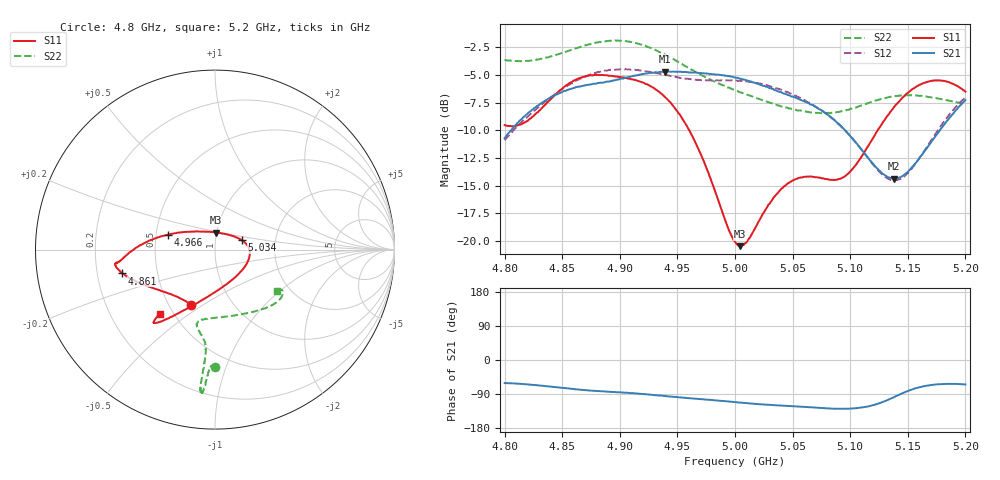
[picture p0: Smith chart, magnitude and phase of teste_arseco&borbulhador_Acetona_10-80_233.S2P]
! Network Analyzer HP8722D
! Hewlett-Packard
! Data name: Linha & Wilkinson
! Saver's name: Rodrigo Anjos
! Comments: Teste da utilização de aquisição
! continua pelo VNA HP8722D
! Time and date: 17/4/2025 16:18
!  Frequency  S11  S21  S12  S22
# HZ  S  MA R 50
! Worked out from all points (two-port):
!   401 points, 4.8 GHz to 5.2 GHz, reference 50 ohm
!   highest |S21| = -4.69 dB at 4.939 GHz (marker M1); lowest = -14.4 dB at 5.138 GHz (marker M2)
!   |S21| within 3 dB of the highest: 4.83 GHz to 5.067 GHz (236.5 MHz wide, 4.78 % of centre); 5.19601 GHz to end of sweep
!   lowest |S11| = -20.5 dB at 5.004 GHz (marker M3), VSWR 1.21, Z = 49.8 + j9.51 ohm
!   |S11| at or under -10 dB: 4.96 GHz to 5.124 GHz (163.7 MHz wide, 3.25 % of centre)
!   |S22| runs from -8.5 to -1.9 dB; largest |S21 - S12| = 0.88
!   S11 on the Smith chart (normalised r, x): 4.8 GHz: 0.64, -0.44; 4.861 GHz: 0.31, -0.11; 4.966 GHz: 0.58, +0.10; 5.034 GHz: 1.34, +0.15; 5.2 GHz: 0.42, -0.39
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4.8e9  0.334 -113.6  0.2915 -60.9  0.2857 -175.1  0.6559 -90.1
4.819e9  0.347 -133.6  0.3729 -64.2  0.3603 -173.8  0.6509 -91.7
4.861e9  0.5334 -165.6  0.4926 -77.2  0.5264 -176.9  0.7382 -94.0
4.867e9  0.5482 -168.1  0.5013 -78.9  0.5449 -178.0  0.7564 -94.2
4.9e9  0.5507 -172.4  0.539 -85.4  0.5963 175.4  0.8021 -95.5
4.934e9  0.4722 -178.4  0.5794 -93.9  0.5716 171.7  0.7144 -95.9
4.939e9  0.4487 179.5  0.5826 -95.0  0.5642 171.6  0.696 -95.7
4.953e9  0.3657 171.9  0.5816 -98.7  0.5438 172.4  0.6345 -95.3
4.966e9  0.2761 162.5  0.5758 -102.2  0.5344 173.6  0.5781 -95.1
5e9  0.0997 99.9  0.548 -111.1  0.5299 176.1  0.4797 -99.2
5.004e9  0.09493 86.0  0.5421 -112.3  0.5293 176.0  0.4709 -100.2
5.012e9  0.1024 59.1  0.5276 -114.4  0.5238 175.8  0.455 -101.8
5.034e9  0.1584 19.5  0.4805 -119.3  0.4955 174.7  0.4156 -103.4
5.05e9  0.1876 3.3  0.4495 -122.1  0.4594 174.0  0.3945 -99.4
5.067e9  0.1951 -14.9  0.4115 -124.9  0.4148 173.6  0.3799 -90.4
5.086e9  0.189 -45.1  0.3539 -128.7  0.3522 173.5  0.3806 -76.1
5.097e9  0.199 -67.5  0.3101 -128.7  0.3103 174.7  0.3906 -67.0
5.134e9  0.3772 -116.9  0.1937 -103.4  0.1903 -156.5  0.4468 -43.0
5.138e9  0.4021 -119.3  0.1913 -98.0  0.1883 -150.1  0.4503 -41.2
5.151e9  0.4713 -124.9  0.2083 -80.7  0.2059 -130.2  0.4557 -36.5
5.17e9  0.528 -129.2  0.2782 -66.1  0.2832 -112.3  0.4461 -32.1
5.2e9  0.4727 -130.8  0.433 -64.6  0.4451 -106.6  0.415 -33.5
